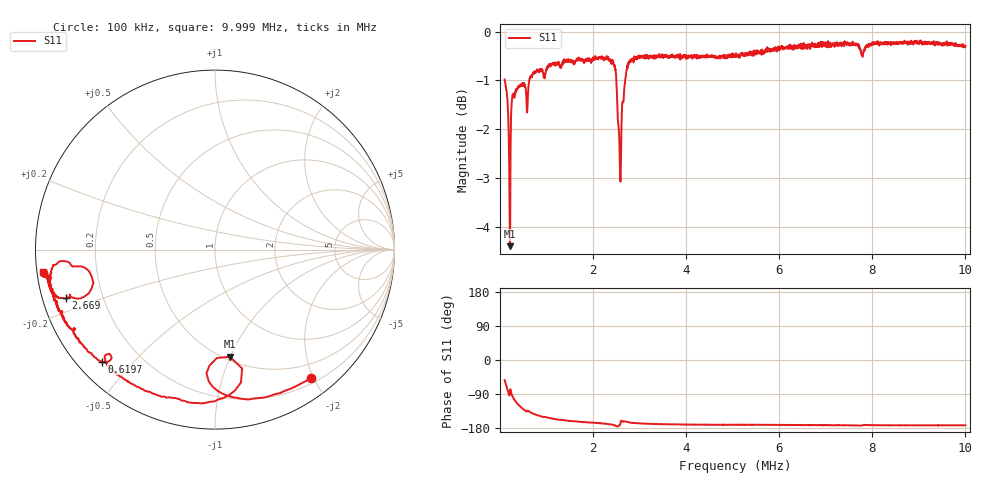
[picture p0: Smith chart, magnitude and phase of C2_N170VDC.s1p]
# HZ S RI R 50
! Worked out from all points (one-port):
!   2020 points, 100 kHz to 9.999 MHz, reference 50 ohm
!   lowest |S11| = -4.4 dB at 217.7 kHz (marker M1), VSWR 4.04, Z = 26.6 - j49.9 ohm
!   |S11| at or under -10 dB: nowhere
!   S11 on the Smith chart (normalised r, x): 100 kHz: 0.28, -1.97; 619.7 kHz: 0.07, -0.41; 2.669 MHz: 0.07, -0.16; 9.999 MHz: 0.02, -0.07
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100000  0.535 -0.7151
129418  0.3628 -0.799
163739  0.1538 -0.832
217672  0.0833 -0.5972
266702  -0.0751 -0.857
291217  -0.1682 -0.8427
340247  -0.2982 -0.8198
413792  -0.4437 -0.7584
516755  -0.5801 -0.6652
619718  -0.6283 -0.6241
712875  -0.7093 -0.5671
869771  -0.7776 -0.4838
1340459  -0.863 -0.347
2419119  -0.9231 -0.1525
2468149  -0.9126 -0.1184
2526985  -0.819 -0.0687
2576015  -0.7227 -0.1022
2639754  -0.8102 -0.2513
2669172  -0.8291 -0.271
2762329  -0.8954 -0.2534
2875098  -0.9088 -0.2217
3816474  -0.9332 -0.1631
5052030  -0.9357 -0.1474
6287586  -0.9525 -0.1398
7528045  -0.9613 -0.1321
7792807  -0.933 -0.1347
8763601  -0.9644 -0.1312
9999157  -0.9585 -0.1265
